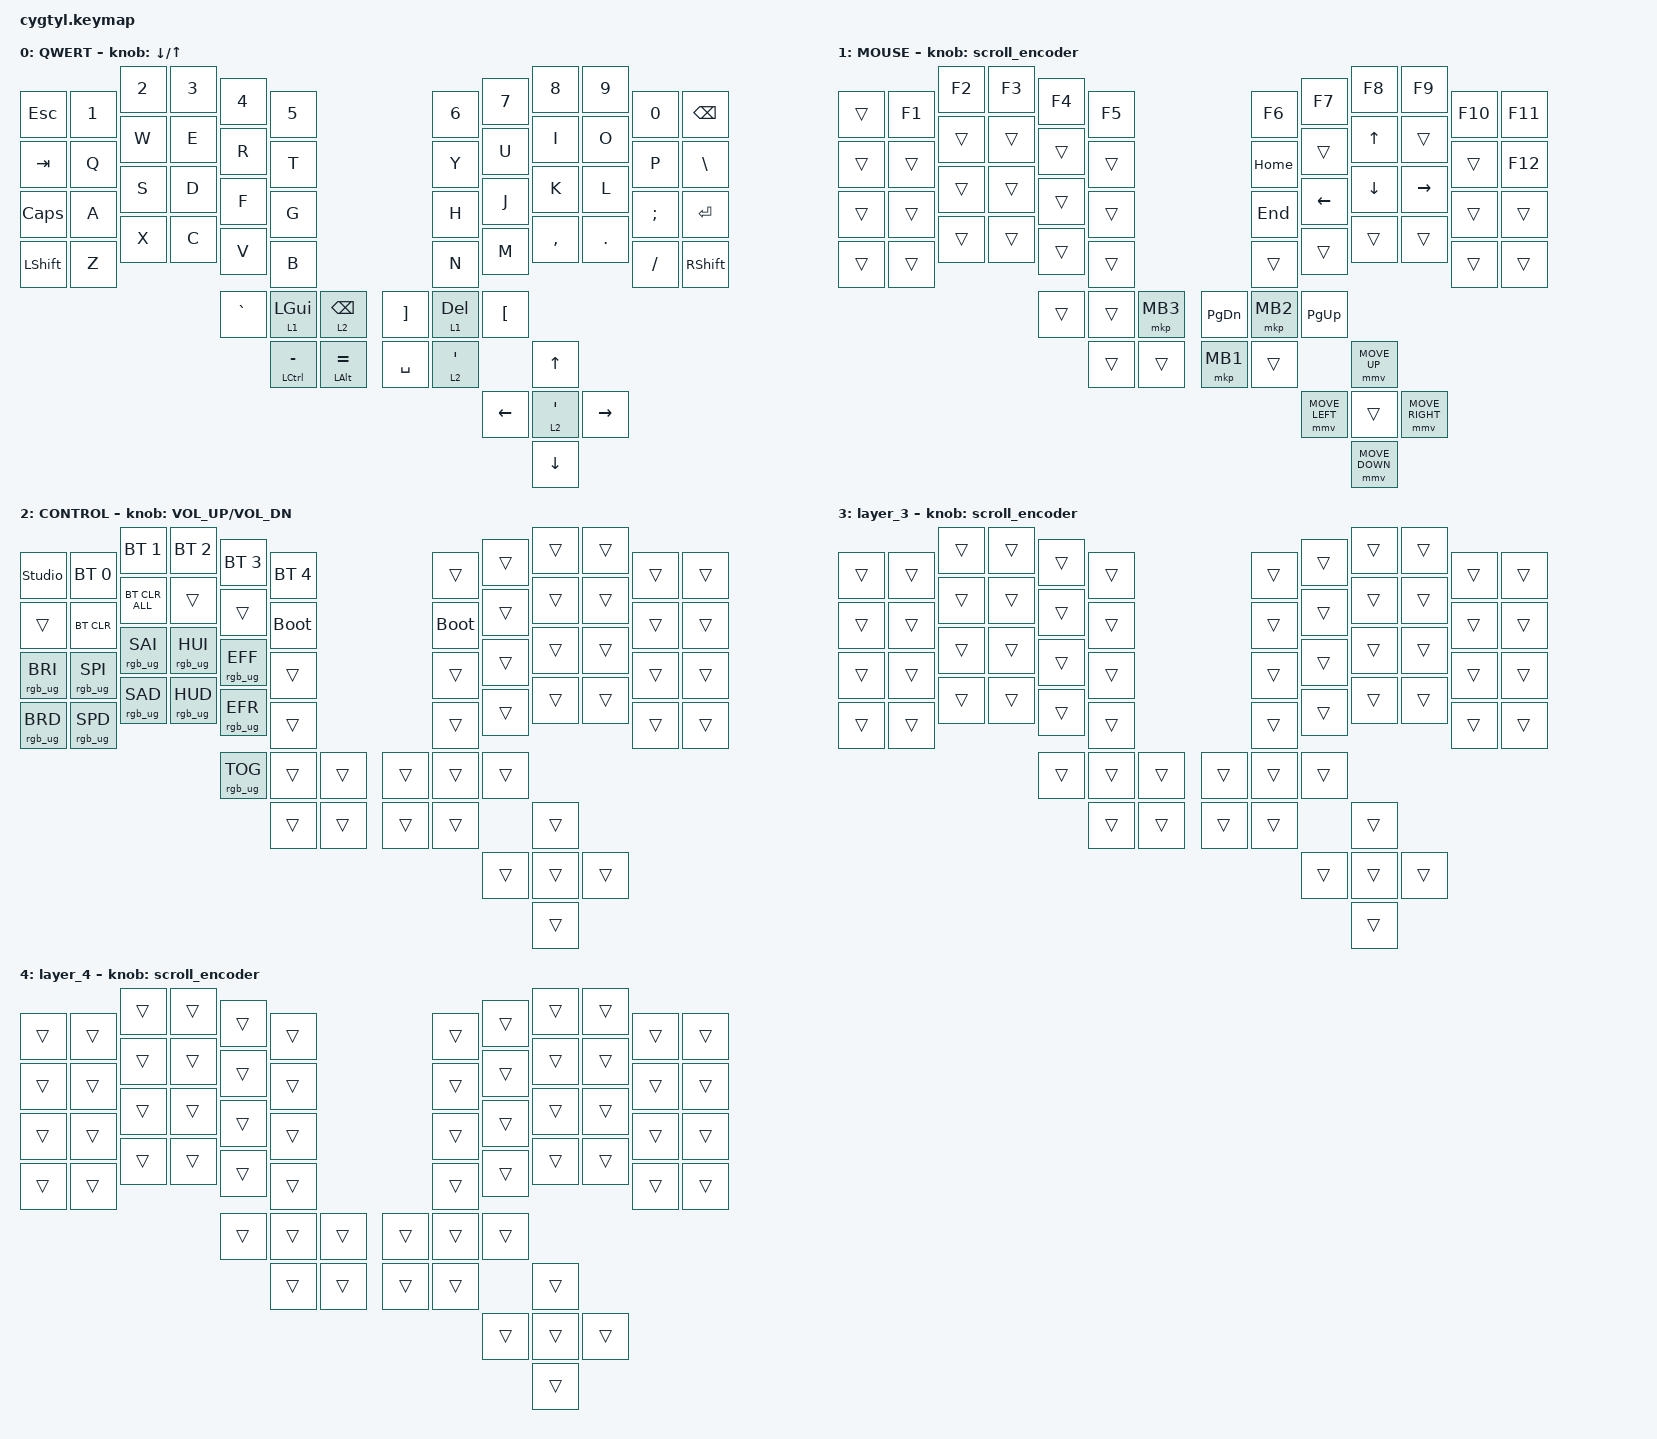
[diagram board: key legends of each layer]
#define ZMK_POINTING_DEFAULT_MOVE_VAL 1200  // 600
#define ZMK_POINTING_DEFAULT_SCRL_VAL 35    // 10
#include <input/processors.dtsi>
#include <behaviors.dtsi>
#include <dt-bindings/zmk/bt.h>
#include <dt-bindings/zmk/keys.h>
#include <dt-bindings/zmk/outputs.h>
#include <dt-bindings/zmk/pointing.h>
#include <dt-bindings/zmk/ext_power.h>
#include <dt-bindings/zmk/rgb.h>
#include <zephyr/dt-bindings/input/input-event-codes.h>

&lt {
    flavor = "tap-preferred";
    quick-tap-ms = <180>;
};

/ {
  zip_scroll_scaler: zip_scroll_scaler {
    compatible = "zmk,input-processor-scaler";
    #input-processor-cells = <2>;
    type = <INPUT_EV_REL>;
    codes = <INPUT_REL_WHEEL INPUT_REL_HWHEEL>;
    track-remainders;
  };
};

&mmv_input_listener {
       input-processors = <&zip_xy_scaler 2 1>;
};

&msc_input_listener {
       input-processors = <&zip_scroll_scaler 2 1>;
};

&msc {
    acceleration-exponent = <0>;      // 0
    time-to-max-speed-ms = <0>;       // 300
    delay-ms = <0>;                   // 0
};

&mmv {
    time-to-max-speed-ms = <400>;
    acceleration-exponent = <1>;
};

/ {
    scroll_encoder: scroll_encoder {
        compatible = "zmk,behavior-sensor-rotate";
        #sensor-binding-cells = <0>;
        bindings = <&msc SCRL_DOWN>, <&msc SCRL_UP>;

        tap-ms = <30>;
    };

    keymap {
        compatible = "zmk,keymap";

        LAYER0 {
            bindings = <
&kp ESC     &kp N1           &kp N2          &kp N3     &kp N4      &kp N5           &kp N6    &kp N7     &kp N8     &kp N9     &kp N0     &kp BACKSPACE
&kp TAB     &kp Q            &kp W           &kp E      &kp R       &kp T            &kp Y     &kp U      &kp I      &kp O      &kp P      &kp BSLH
&kp CAPS    &kp A            &kp S           &kp D      &kp F       &kp G            &kp H     &kp J      &kp K      &kp L      &kp SEMI   &kp ENTER
&kp LSHIFT  &kp Z            &kp X           &kp C      &kp V       &kp B            &kp N     &kp M      &kp COMMA  &kp DOT    &kp FSLH   &kp RSHIFT
            &mt LCTRL MINUS  &mt LALT EQUAL  &kp GRAVE  &lt 1 LGUI  &lt 2 BACKSPACE  &kp RBKT  &lt 1 DEL  &kp LBKT   &kp SPACE  &lt 2 SQT
                                                                                     &kp LEFT  &lt 2 SQT  &kp DOWN   &kp RIGHT  &kp UP
            >;

            display-name = "QWERT";
            sensor-bindings = <&inc_dec_kp DOWN UP>;
        };

        layer_1 {
            bindings = <
&trans  &kp F1  &kp F2  &kp F3  &kp F4  &kp F5    &kp F6          &kp F7    &kp F8          &kp F9           &kp F10       &kp F11
&trans  &trans  &trans  &trans  &trans  &trans    &kp HOME        &trans    &kp UP          &trans           &trans        &kp F12
&trans  &trans  &trans  &trans  &trans  &trans    &kp END         &kp LEFT  &kp DOWN        &kp RIGHT        &trans        &trans
&trans  &trans  &trans  &trans  &trans  &trans    &trans          &trans    &trans          &trans           &trans        &trans
        &trans  &trans  &trans  &trans  &mkp MB3  &kp PG_DN       &mkp MB2  &kp PG_UP       &mkp MB1         &trans
                                                  &mmv MOVE_LEFT  &trans    &mmv MOVE_DOWN  &mmv MOVE_RIGHT  &mmv MOVE_UP
            >;

            display-name = "MOUSE";
            sensor-bindings = <&scroll_encoder>;
        };

        layer_2 {
            display-name = "CONTROL";
            bindings = <
&studio_unlock   &bt BT_SEL 0     &bt BT_SEL 1     &bt BT_SEL 2     &bt BT_SEL 3     &bt BT_SEL 4  &trans       &trans  &trans  &trans  &trans  &trans
&trans           &bt BT_CLR       &bt BT_CLR_ALL   &trans           &trans           &bootloader   &bootloader  &trans  &trans  &trans  &trans  &trans
&rgb_ug RGB_BRI  &rgb_ug RGB_SPI  &rgb_ug RGB_SAI  &rgb_ug RGB_HUI  &rgb_ug RGB_EFF  &trans        &trans       &trans  &trans  &trans  &trans  &trans
&rgb_ug RGB_BRD  &rgb_ug RGB_SPD  &rgb_ug RGB_SAD  &rgb_ug RGB_HUD  &rgb_ug RGB_EFR  &trans        &trans       &trans  &trans  &trans  &trans  &trans
                 &trans           &trans           &rgb_ug RGB_TOG  &trans           &trans        &trans       &trans  &trans  &trans  &trans
                                                                                                   &trans       &trans  &trans  &trans  &trans
            >;

            sensor-bindings = <&inc_dec_kp C_VOLUME_UP C_VOL_DN>;
        };

        layer_3 {
            bindings = <
&trans  &trans  &trans  &trans  &trans  &trans  &trans  &trans  &trans  &trans  &trans  &trans
&trans  &trans  &trans  &trans  &trans  &trans  &trans  &trans  &trans  &trans  &trans  &trans
&trans  &trans  &trans  &trans  &trans  &trans  &trans  &trans  &trans  &trans  &trans  &trans
&trans  &trans  &trans  &trans  &trans  &trans  &trans  &trans  &trans  &trans  &trans  &trans
        &trans  &trans  &trans  &trans  &trans  &trans  &trans  &trans  &trans  &trans
                                                &trans  &trans  &trans  &trans  &trans
            >;

            sensor-bindings = <&scroll_encoder>;
        };

        layer_4 {
            bindings = <
&trans  &trans  &trans  &trans  &trans  &trans  &trans  &trans  &trans  &trans  &trans  &trans
&trans  &trans  &trans  &trans  &trans  &trans  &trans  &trans  &trans  &trans  &trans  &trans
&trans  &trans  &trans  &trans  &trans  &trans  &trans  &trans  &trans  &trans  &trans  &trans
&trans  &trans  &trans  &trans  &trans  &trans  &trans  &trans  &trans  &trans  &trans  &trans
        &trans  &trans  &trans  &trans  &trans  &trans  &trans  &trans  &trans  &trans
                                                &trans  &trans  &trans  &trans  &trans
            >;

            sensor-bindings = <&scroll_encoder>;
        };
    };
};
